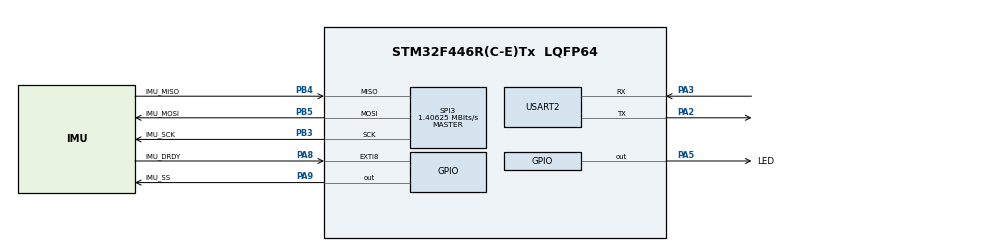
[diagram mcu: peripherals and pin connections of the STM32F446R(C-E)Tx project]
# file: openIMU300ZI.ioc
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Mcu.Family=STM32F4
Mcu.Name=STM32F446R(C-E)Tx
Mcu.Package=LQFP64
NVIC.EXTI9_5_IRQn=true\:0\:0\:false\:false\:true\:true
NVIC.PriorityGroup=NVIC_PRIORITYGROUP_4
PA2.Mode=Asynchronous
PA2.Signal=USART2_TX
PA3.Mode=Asynchronous
PA3.Signal=USART2_RX
PA5.GPIO_Label=LED
PA5.Signal=GPIO_Output
PA8.GPIO_Label=IMU_DRDY
PA8.GPIO_ModeDefaultEXTI=GPIO_MODE_IT_FALLING
PA8.GPIO_PuPd=GPIO_PULLUP
PA8.Signal=GPXTI8
PA9.GPIO_Label=IMU_SS
PA9.PinState=GPIO_PIN_SET
PA9.Signal=GPIO_Output
PB3.GPIO_Label=IMU_SCK
PB3.Mode=Full_Duplex_Master
PB3.Signal=SPI3_SCK
PB4.GPIO_Label=IMU_MISO
PB4.GPIO_PuPd=GPIO_PULLUP
PB4.Mode=Full_Duplex_Master
PB4.Signal=SPI3_MISO
PB5.GPIO_Label=IMU_MOSI
PB5.GPIO_PuPd=GPIO_NOPULL
PB5.Mode=Full_Duplex_Master
PB5.Signal=SPI3_MOSI
PH0-OSC_IN.Mode=HSE-External-Clock-Source
PH0-OSC_IN.Signal=RCC_OSC_IN
PH1-OSC_OUT.Mode=HSE-External-Clock-Source
PH1-OSC_OUT.Signal=RCC_OSC_OUT
ProjectManager.HeapSize=0x200
ProjectManager.StackSize=0x400
ProjectManager.TargetToolchain=SW4STM32
RCC.AHBFreq_Value=180000000
RCC.APB1CLKDivider=RCC_HCLK_DIV4
RCC.APB1Freq_Value=45000000
RCC.APB1TimFreq_Value=90000000
RCC.APB2CLKDivider=RCC_HCLK_DIV2
RCC.APB2Freq_Value=90000000
RCC.APB2TimFreq_Value=180000000
RCC.CortexFreq_Value=180000000
RCC.HCLKFreq_Value=180000000
RCC.HSE_VALUE=8000000
RCC.PLLM=4
RCC.PLLN=180
RCC.PLLSourceVirtual=RCC_PLLSOURCE_HSE
RCC.SYSCLKFreq_VALUE=180000000
RCC.SYSCLKSource=RCC_SYSCLKSOURCE_PLLRCLK
RCC.USBFreq_Value=180000000
RCC.VCOOutputFreq_Value=360000000
SPI3.BaudRatePrescaler=SPI_BAUDRATEPRESCALER_32
SPI3.CLKPhase=SPI_PHASE_2EDGE
SPI3.CLKPolarity=SPI_POLARITY_HIGH
SPI3.CalculateBaudRate=1.40625 MBits/s
SPI3.DataSize=SPI_DATASIZE_16BIT
SPI3.Direction=SPI_DIRECTION_2LINES
SPI3.Mode=SPI_MODE_MASTER
SPI3.VirtualType=VM_MASTER
USART2.VirtualMode=VM_ASYNC
board=custom

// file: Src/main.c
/**
 ******************************************************************************
 * @file           : main.c
 * @brief          : Main program body
 ******************************************************************************
 ** This notice applies to any and all portions of this file
 * that are not between comment pairs USER CODE BEGIN and
 * USER CODE END. Other portions of this file, whether
 * inserted by the user or by software development tools
 * are owned by their respective copyright owners.
 *
 * COPYRIGHT(c) 2019 STMicroelectronics
 *
 * Redistribution and use in source and binary forms, with or without
 *modification, are permitted provided that the following conditions are met:
 *   1. Redistributions of source code must retain the above copyright notice,
 *      this list of conditions and the following disclaimer.
 *   2. Redistributions in binary form must reproduce the above copyright
 *notice, this list of conditions and the following disclaimer in the
 *documentation and/or other materials provided with the distribution.
 *   3. Neither the name of STMicroelectronics nor the names of its contributors
 *      may be used to endorse or promote products derived from this software
 *      without specific prior written permission.
 *
 * THIS SOFTWARE IS PROVIDED BY THE COPYRIGHT HOLDERS AND CONTRIBUTORS "AS IS"
 * AND ANY EXPRESS OR IMPLIED WARRANTIES, INCLUDING, BUT NOT LIMITED TO, THE
 * IMPLIED WARRANTIES OF MERCHANTABILITY AND FITNESS FOR A PARTICULAR PURPOSE
 *ARE DISCLAIMED. IN NO EVENT SHALL THE COPYRIGHT HOLDER OR CONTRIBUTORS BE
 *LIABLE FOR ANY DIRECT, INDIRECT, INCIDENTAL, SPECIAL, EXEMPLARY, OR
 *CONSEQUENTIAL DAMAGES (INCLUDING, BUT NOT LIMITED TO, PROCUREMENT OF
 *SUBSTITUTE GOODS OR SERVICES; LOSS OF USE, DATA, OR PROFITS; OR BUSINESS
 *INTERRUPTION) HOWEVER CAUSED AND ON ANY THEORY OF LIABILITY, WHETHER IN
 *CONTRACT, STRICT LIABILITY, OR TORT (INCLUDING NEGLIGENCE OR OTHERWISE)
 *ARISING IN ANY WAY OUT OF THE USE OF THIS SOFTWARE, EVEN IF ADVISED OF THE
 *POSSIBILITY OF SUCH DAMAGE.
 *
 ******************************************************************************
 */
#include "main.h"

/* USER CODE BEGIN Includes */
#include <stdio.h>

#include "stm32f4xx_it.h"
/* USER CODE END Includes */

/* USER CODE BEGIN PV */
/* Private variables ---------------------------------------------------------*/
ImuInterfacePtr imu_interface;
ImuDriverPtr imu_driver;
/* USER CODE END PV */

static void LL_Init(void);
void SystemClock_Config(void);
static void MX_GPIO_Init(void);
static void MX_SPI3_Init(void);
static void MX_USART2_UART_Init(void);

static void LL_IMU_Driver_Init(void);
/* USER CODE BEGIN PFP */
/* Private function prototypes -----------------------------------------------*/

/* USER CODE END PFP */

int main(void) {

  /* MCU
   * Configuration----------------------------------------------------------*/

  /* Reset of all peripherals, Initializes the Flash interface and the Systick.
   */
  LL_Init();

  /* Configure the system clock */
  SystemClock_Config();

  /* Initialize all configured peripherals */
  MX_GPIO_Init();
  MX_SPI3_Init();
  MX_USART2_UART_Init();
  /* USER CODE BEGIN 2 */
  LL_SPI_Enable(SPI3);
  LL_IMU_Driver_Init();
  /* USER CODE END 2 */

  /* Infinite loop */
  while (1) {

    /* USER CODE BEGIN 3 */
    for (int i = 0; i < 100000; ++i) {
    }

    ImuData data = imuDriverGetImuData(imu_driver);

    float x_rate = (data.rate[0]) / 200.0f;
    float y_rate = (data.rate[1]) / 200.0f;
    float z_rate = (data.rate[2]) / 200.0f;

    float x_accel = (data.accel[0]) / 4000.0f;
    float y_accel = (data.accel[1]) / 4000.0f;
    float z_accel = (data.accel[2]) / 4000.0f;

    printf("% .3f, % .3f, % .3f, % .3f, % .3f, % .3f, % d\r\n", x_rate, y_rate,
           z_rate, x_accel, y_accel, z_accel, data.temp);
  }
  /* USER CODE END 3 */
}
static void LL_Init(void) {
  LL_APB2_GRP1_EnableClock(LL_APB2_GRP1_PERIPH_SYSCFG);
  LL_APB1_GRP1_EnableClock(LL_APB1_GRP1_PERIPH_PWR);

  NVIC_SetPriorityGrouping(NVIC_PRIORITYGROUP_4);

  /* System interrupt init*/
  /* MemoryManagement_IRQn interrupt configuration */
  NVIC_SetPriority(MemoryManagement_IRQn,
                   NVIC_EncodePriority(NVIC_GetPriorityGrouping(), 0, 0));
  /* BusFault_IRQn interrupt configuration */
  NVIC_SetPriority(BusFault_IRQn,
                   NVIC_EncodePriority(NVIC_GetPriorityGrouping(), 0, 0));
  /* UsageFault_IRQn interrupt configuration */
  NVIC_SetPriority(UsageFault_IRQn,
                   NVIC_EncodePriority(NVIC_GetPriorityGrouping(), 0, 0));
  /* SVCall_IRQn interrupt configuration */
  NVIC_SetPriority(SVCall_IRQn,
                   NVIC_EncodePriority(NVIC_GetPriorityGrouping(), 0, 0));
  /* DebugMonitor_IRQn interrupt configuration */
  NVIC_SetPriority(DebugMonitor_IRQn,
                   NVIC_EncodePriority(NVIC_GetPriorityGrouping(), 0, 0));
  /* PendSV_IRQn interrupt configuration */
  NVIC_SetPriority(PendSV_IRQn,
                   NVIC_EncodePriority(NVIC_GetPriorityGrouping(), 0, 0));
  /* SysTick_IRQn interrupt configuration */
  NVIC_SetPriority(SysTick_IRQn,
                   NVIC_EncodePriority(NVIC_GetPriorityGrouping(), 0, 0));
}

void SystemClock_Config(void) {
  LL_FLASH_SetLatency(LL_FLASH_LATENCY_5);

  if (LL_FLASH_GetLatency() != LL_FLASH_LATENCY_5) {
    Error_Handler();
  }
  LL_PWR_SetRegulVoltageScaling(LL_PWR_REGU_VOLTAGE_SCALE1);

  LL_PWR_EnableOverDriveMode();

  LL_RCC_HSE_EnableBypass();

  LL_RCC_HSE_Enable();

  /* Wait till HSE is ready */
  while (LL_RCC_HSE_IsReady() != 1) {
  }
  LL_RCC_PLL_ConfigDomain_SYS(LL_RCC_PLLSOURCE_HSE, LL_RCC_PLLM_DIV_4, 180,
                              LL_RCC_PLLR_DIV_2);

  LL_RCC_PLL_Enable();

  /* Wait till PLL is ready */
  while (LL_RCC_PLL_IsReady() != 1) {
  }
  LL_RCC_SetAHBPrescaler(LL_RCC_SYSCLK_DIV_1);

  LL_RCC_SetAPB1Prescaler(LL_RCC_APB1_DIV_4);

  LL_RCC_SetAPB2Prescaler(LL_RCC_APB2_DIV_2);

  LL_RCC_SetSysClkSource(LL_RCC_SYS_CLKSOURCE_PLLR);

  /* Wait till System clock is ready */
  while (LL_RCC_GetSysClkSource() != LL_RCC_SYS_CLKSOURCE_STATUS_PLLR) {
  }
  LL_Init1msTick(180000000);

  LL_SYSTICK_SetClkSource(LL_SYSTICK_CLKSOURCE_HCLK);

  LL_SetSystemCoreClock(180000000);

  LL_RCC_SetTIMPrescaler(LL_RCC_TIM_PRESCALER_TWICE);

  /* SysTick_IRQn interrupt configuration */
  NVIC_SetPriority(SysTick_IRQn,
                   NVIC_EncodePriority(NVIC_GetPriorityGrouping(), 0, 0));
}

/* SPI3 init function */
static void MX_SPI3_Init(void) {
  LL_SPI_InitTypeDef SPI_InitStruct;

  LL_GPIO_InitTypeDef GPIO_InitStruct;

  /* Peripheral clock enable */
  LL_APB1_GRP1_EnableClock(LL_APB1_GRP1_PERIPH_SPI3);

  /**SPI3 GPIO Configuration
  PB3   ------> SPI3_SCK
  PB4   ------> SPI3_MISO
  PB5   ------> SPI3_MOSI
  */
  GPIO_InitStruct.Pin = IMU_SCK_Pin | IMU_MOSI_Pin;
  GPIO_InitStruct.Mode = LL_GPIO_MODE_ALTERNATE;
  GPIO_InitStruct.Speed = LL_GPIO_SPEED_FREQ_VERY_HIGH;
  GPIO_InitStruct.OutputType = LL_GPIO_OUTPUT_PUSHPULL;
  GPIO_InitStruct.Pull = LL_GPIO_PULL_NO;
  GPIO_InitStruct.Alternate = LL_GPIO_AF_6;
  LL_GPIO_Init(GPIOB, &GPIO_InitStruct);

  GPIO_InitStruct.Pin = IMU_MISO_Pin;
  GPIO_InitStruct.Mode = LL_GPIO_MODE_ALTERNATE;
  GPIO_InitStruct.Speed = LL_GPIO_SPEED_FREQ_VERY_HIGH;
  GPIO_InitStruct.OutputType = LL_GPIO_OUTPUT_PUSHPULL;
  GPIO_InitStruct.Pull = LL_GPIO_PULL_UP;
  GPIO_InitStruct.Alternate = LL_GPIO_AF_6;
  LL_GPIO_Init(IMU_MISO_GPIO_Port, &GPIO_InitStruct);

  /* SPI3 parameter configuration*/
  SPI_InitStruct.TransferDirection = LL_SPI_FULL_DUPLEX;
  SPI_InitStruct.Mode = LL_SPI_MODE_MASTER;
  SPI_InitStruct.DataWidth = LL_SPI_DATAWIDTH_16BIT;
  SPI_InitStruct.ClockPolarity = LL_SPI_POLARITY_HIGH;
  SPI_InitStruct.ClockPhase = LL_SPI_PHASE_2EDGE;
  SPI_InitStruct.NSS = LL_SPI_NSS_SOFT;
  SPI_InitStruct.BaudRate = LL_SPI_BAUDRATEPRESCALER_DIV32;
  SPI_InitStruct.BitOrder = LL_SPI_MSB_FIRST;
  SPI_InitStruct.CRCCalculation = LL_SPI_CRCCALCULATION_DISABLE;
  SPI_InitStruct.CRCPoly = 10;
  LL_SPI_Init(SPI3, &SPI_InitStruct);

  LL_SPI_SetStandard(SPI3, LL_SPI_PROTOCOL_MOTOROLA);
}

/* USART2 init function */
static void MX_USART2_UART_Init(void) {
  LL_USART_InitTypeDef USART_InitStruct;

  LL_GPIO_InitTypeDef GPIO_InitStruct;

  /* Peripheral clock enable */
  LL_APB1_GRP1_EnableClock(LL_APB1_GRP1_PERIPH_USART2);

  /**USART2 GPIO Configuration
  PA2   ------> USART2_TX
  PA3   ------> USART2_RX
  */
  GPIO_InitStruct.Pin = LL_GPIO_PIN_2 | LL_GPIO_PIN_3;
  GPIO_InitStruct.Mode = LL_GPIO_MODE_ALTERNATE;
  GPIO_InitStruct.Speed = LL_GPIO_SPEED_FREQ_VERY_HIGH;
  GPIO_InitStruct.OutputType = LL_GPIO_OUTPUT_PUSHPULL;
  GPIO_InitStruct.Pull = LL_GPIO_PULL_UP;
  GPIO_InitStruct.Alternate = LL_GPIO_AF_7;
  LL_GPIO_Init(GPIOA, &GPIO_InitStruct);

  USART_InitStruct.BaudRate = 115200;
  USART_InitStruct.DataWidth = LL_USART_DATAWIDTH_8B;
  USART_InitStruct.StopBits = LL_USART_STOPBITS_1;
  USART_InitStruct.Parity = LL_USART_PARITY_NONE;
  USART_InitStruct.TransferDirection = LL_USART_DIRECTION_TX_RX;
  USART_InitStruct.HardwareFlowControl = LL_USART_HWCONTROL_NONE;
  USART_InitStruct.OverSampling = LL_USART_OVERSAMPLING_16;
  LL_USART_Init(USART2, &USART_InitStruct);

  LL_USART_ConfigAsyncMode(USART2);

  LL_USART_Enable(USART2);
}

/** Configure pins as
 * Analog
 * Input
 * Output
 * EVENT_OUT
 * EXTI
 */
static void MX_GPIO_Init(void) {
  LL_GPIO_InitTypeDef GPIO_InitStruct;
  LL_EXTI_InitTypeDef EXTI_InitStruct;

  /* GPIO Ports Clock Enable */
  LL_AHB1_GRP1_EnableClock(LL_AHB1_GRP1_PERIPH_GPIOH);
  LL_AHB1_GRP1_EnableClock(LL_AHB1_GRP1_PERIPH_GPIOA);
  LL_AHB1_GRP1_EnableClock(LL_AHB1_GRP1_PERIPH_GPIOB);

  /**/
  LL_GPIO_ResetOutputPin(LED_GPIO_Port, LED_Pin);

  /**/
  LL_GPIO_SetOutputPin(IMU_SS_GPIO_Port, IMU_SS_Pin);

  /**/
  GPIO_InitStruct.Pin = LED_Pin | IMU_SS_Pin;
  GPIO_InitStruct.Mode = LL_GPIO_MODE_OUTPUT;
  GPIO_InitStruct.Speed = LL_GPIO_SPEED_FREQ_LOW;
  GPIO_InitStruct.OutputType = LL_GPIO_OUTPUT_PUSHPULL;
  GPIO_InitStruct.Pull = LL_GPIO_PULL_NO;
  LL_GPIO_Init(GPIOA, &GPIO_InitStruct);

  /**/
  LL_SYSCFG_SetEXTISource(LL_SYSCFG_EXTI_PORTA, LL_SYSCFG_EXTI_LINE8);

  /**/
  EXTI_InitStruct.Line_0_31 = LL_EXTI_LINE_8;
  EXTI_InitStruct.LineCommand = ENABLE;
  EXTI_InitStruct.Mode = LL_EXTI_MODE_IT;
  EXTI_InitStruct.Trigger = LL_EXTI_TRIGGER_FALLING;
  LL_EXTI_Init(&EXTI_InitStruct);

  /**/
  LL_GPIO_SetPinPull(IMU_DRDY_GPIO_Port, IMU_DRDY_Pin, LL_GPIO_PULL_UP);

  /**/
  LL_GPIO_SetPinMode(IMU_DRDY_GPIO_Port, IMU_DRDY_Pin, LL_GPIO_MODE_INPUT);

  /* EXTI interrupt init*/
  NVIC_SetPriority(EXTI9_5_IRQn,
                   NVIC_EncodePriority(NVIC_GetPriorityGrouping(), 0, 0));
  NVIC_EnableIRQ(EXTI9_5_IRQn);
}

/* USER CODE BEGIN 4 */
/**
 *
 * @param file
 * @param ptr
 * @param len
 * @return
 */
int _write(__unused int file, __unused char *ptr, int len) {
  for (int DataIdx = 0; DataIdx < len; DataIdx++) {
    LL_USART_TransmitData8(USART2, (uint8_t)*ptr++);

    while (LL_USART_IsActiveFlag_TXE(USART2) == RESET) {
    }
  }

  return len;
}

/**
 * @brief This function handle the initialization of imu interface
 */
void LL_IMU_Driver_Init() {
  imu_interface = LL_ImuInterfaceCreate(GPIOA, LL_GPIO_PIN_10);
  LL_ImuInterfaceSetupSpi(imu_interface, SPI3, IMU_DRDY_GPIO_Port, IMU_DRDY_Pin,
                          IMU_SS_GPIO_Port, IMU_SS_Pin);

  imu_driver = imuDriverCreate(FrameworkSpi, imu_interface);
}

/* USER CODE END 4 */

void _Error_Handler(__unused char *file, __unused int line) {
  /* USER CODE BEGIN Error_Handler_Debug */
  /* User can add his own implementation to report the HAL error return state
   */
  while (1) {
  }
  /* USER CODE END Error_Handler_Debug */
}

#ifdef USE_FULL_ASSERT
/**
 * @brief  Reports the name of the source file and the source line number
 *         where the assert_param error has occurred.
 * @param  file: pointer to the source file name
 * @param  line: assert_param error line source number
 * @retval None
 */
void assert_failed(uint8_t *file, uint32_t line) {
  /* USER CODE BEGIN 6 */
  /* User can add his own implementation to report the file name and line
     number,
     tex: printf("Wrong parameters value: file %s on line %d\r\n", file, line)
   */
  /* USER CODE END 6 */
}
#endif /* USE_FULL_ASSERT */

/************************ (C) COPYRIGHT STMicroelectronics *****END OF
 * FILE****/
